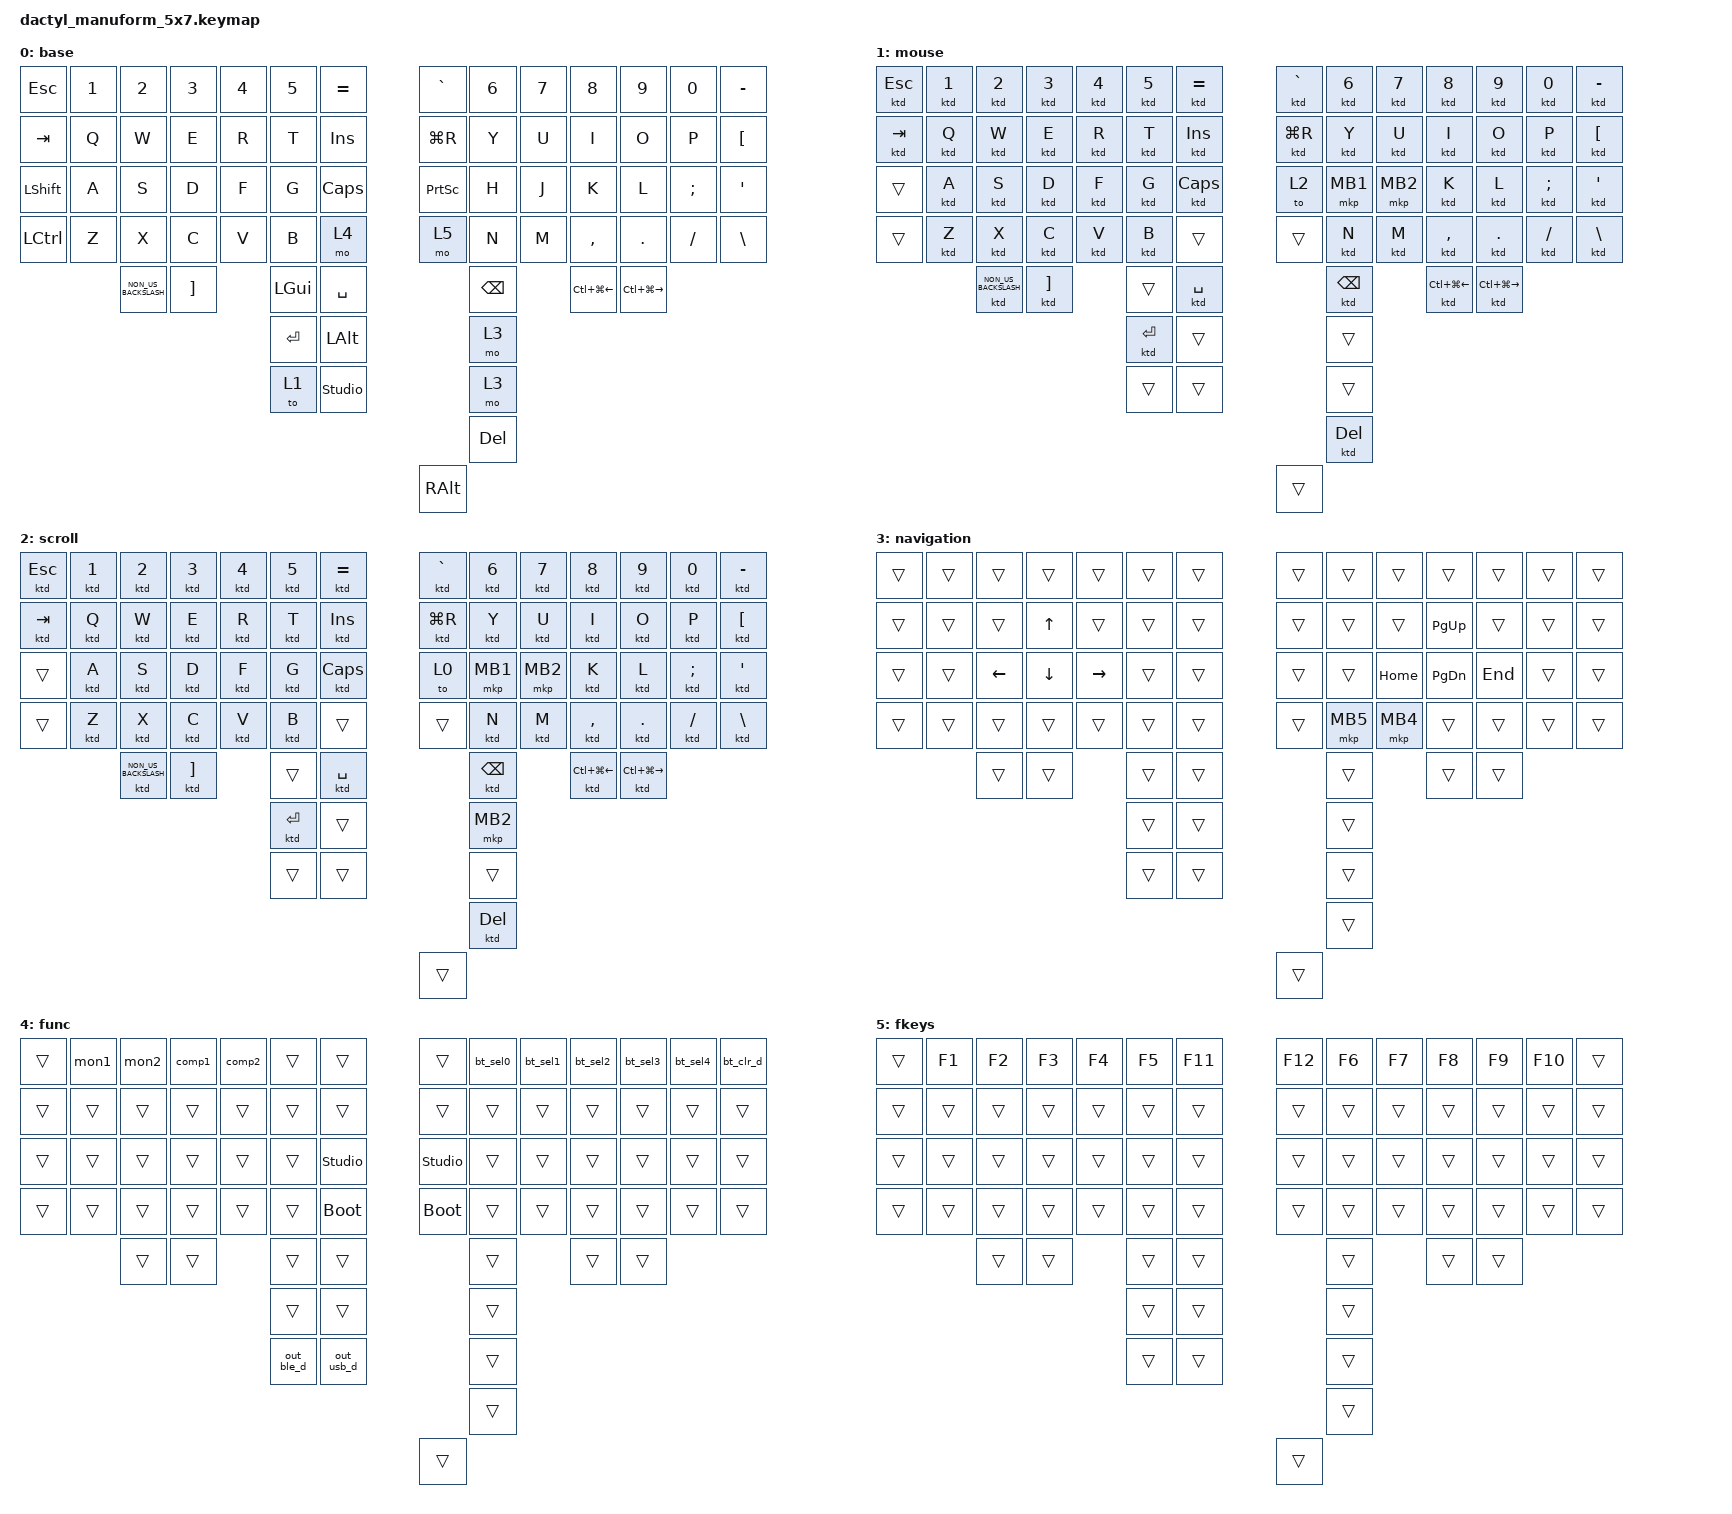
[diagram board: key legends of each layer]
#include <behaviors.dtsi>
#include <dt-bindings/zmk/bt.h>
#include <input/processors.dtsi>
#include <dt-bindings/zmk/keys.h>
#include <dt-bindings/zmk/mouse.h>
#include <dt-bindings/zmk/outputs.h>
#include <dt-bindings/zmk/pointing.h>
#include <dt-bindings/zmk/behaviors.h>
#include <dt-bindings/zmk/input_transform.h>
#include <dt-bindings/zmk/ext_power.h>

// keep all behavior settings for zmk studio
#define ZMK_BEHAVIORS_OMIT_KT

#define DEFAULT 0

#include "common_macros.dtsi"

&sl {
    release-after-ms = <2000>;
};

/ {
    keymap {
        compatible = "zmk,keymap";

        default_layer {
            display-name = "base";
            bindings = <
              &kp ESC                &kp NUMBER_1           &kp NUMBER_2           &kp NUMBER_3           &kp NUMBER_4           &kp NUMBER_5           &kp EQUAL                  &kp GRAVE              &kp NUMBER_6           &kp NUMBER_7           &kp NUMBER_8           &kp NUMBER_9           &kp NUMBER_0           &kp MINUS
              &kp TAB                &kp Q                  &kp W                  &kp E                  &kp R                  &kp T                  &kp INSERT                 &kp LG(R)              &kp Y                  &kp U                  &kp I                  &kp O                  &kp P                  &kp LBKT
              &kp LSHIFT             &kp A                  &kp S                  &kp D                  &kp F                  &kp G                  &kp CAPS                   &kp PSCRN              &kp H                  &kp J                  &kp K                  &kp L                  &kp SEMICOLON          &kp SINGLE_QUOTE
              &kp LCTRL              &kp Z                  &kp X                  &kp C                  &kp V                  &kp B                  &mo 4                      &mo 5                  &kp N                  &kp M                  &kp COMMA              &kp PERIOD             &kp SLASH              &kp BACKSLASH
              &kp NON_US_BACKSLASH   &kp RBKT               &kp LGUI               &kp SPACE              &kp LALT               &kp RALT               &kp DEL                &mo 3                      &kp LC(LG(LEFT))       &kp LC(LG(RIGHT))      &mo 3                  &kp BACKSPACE          &kp ENTER              &to 1                  &studio_unlock
            
            >;
        };

        mouse_layer {
            display-name = "mouse";
            bindings = <
              &ktd ESC               &ktd NUMBER_1          &ktd NUMBER_2          &ktd NUMBER_3          &ktd NUMBER_4          &ktd NUMBER_5          &ktd EQUAL                 &ktd GRAVE             &ktd NUMBER_6          &ktd NUMBER_7          &ktd NUMBER_8          &ktd NUMBER_9          &ktd NUMBER_0          &ktd MINUS
              &ktd TAB               &ktd Q                 &ktd W                 &ktd E                 &ktd R                 &ktd T                 &ktd INSERT                &ktd LG(R)             &ktd Y                 &ktd U                 &ktd I                 &ktd O                 &ktd P                 &ktd LBKT
              &trans                 &ktd A                 &ktd S                 &ktd D                 &ktd F                 &ktd G                 &ktd CAPS                  &to 2                  &mkp MB1               &mkp MB2               &ktd K                 &ktd L                 &ktd SEMICOLON         &ktd SINGLE_QUOTE
              &trans                 &ktd Z                 &ktd X                 &ktd C                 &ktd V                 &ktd B                 &trans                     &trans                 &ktd N                 &ktd M                 &ktd COMMA             &ktd PERIOD            &ktd SLASH             &ktd BACKSLASH
              &ktd NON_US_BACKSLASH  &ktd RBKT              &trans                 &ktd SPACE             &trans                 &trans                 &ktd DEL               &trans                     &ktd LC(LG(LEFT))      &ktd LC(LG(RIGHT))     &trans                 &ktd BACKSPACE         &ktd ENTER             &trans                 &trans
            
            >;
        };

        scroll_layer {
            display-name = "scroll";
            bindings = <
              &ktd ESC               &ktd NUMBER_1          &ktd NUMBER_2          &ktd NUMBER_3          &ktd NUMBER_4          &ktd NUMBER_5          &ktd EQUAL                 &ktd GRAVE             &ktd NUMBER_6          &ktd NUMBER_7          &ktd NUMBER_8          &ktd NUMBER_9          &ktd NUMBER_0          &ktd MINUS
              &ktd TAB               &ktd Q                 &ktd W                 &ktd E                 &ktd R                 &ktd T                 &ktd INSERT                &ktd LG(R)             &ktd Y                 &ktd U                 &ktd I                 &ktd O                 &ktd P                 &ktd LBKT
              &trans                 &ktd A                 &ktd S                 &ktd D                 &ktd F                 &ktd G                 &ktd CAPS                  &to 0                  &mkp MB1               &mkp MB2               &ktd K                 &ktd L                 &ktd SEMICOLON         &ktd SINGLE_QUOTE
              &trans                 &ktd Z                 &ktd X                 &ktd C                 &ktd V                 &ktd B                 &trans                     &trans                 &ktd N                 &ktd M                 &ktd COMMA             &ktd PERIOD            &ktd SLASH             &ktd BACKSLASH
              &ktd NON_US_BACKSLASH  &ktd RBKT              &trans                 &ktd SPACE             &trans                 &trans                 &ktd DEL               &trans                     &ktd LC(LG(LEFT))      &ktd LC(LG(RIGHT))     &mkp MB2               &ktd BACKSPACE         &ktd ENTER             &trans                 &trans
            
            >;
        };
        
        navigation_layer {
            display-name = "navigation";
            bindings = <
              &trans                 &trans                 &trans                 &trans                 &trans                 &trans                 &trans                     &trans                 &trans                 &trans                 &trans                 &trans                 &trans                 &trans
              &trans                 &trans                 &trans                 &kp UP                 &trans                 &trans                 &trans                     &trans                 &trans                 &trans                 &kp PAGE_UP            &trans                 &trans                 &trans
              &trans                 &trans                 &kp LEFT               &kp DOWN               &kp RIGHT              &trans                 &trans                     &trans                 &trans                 &kp HOME               &kp PAGE_DOWN          &kp END                &trans                 &trans
              &trans                 &trans                 &trans                 &trans                 &trans                 &trans                 &trans                     &trans                 &mkp MB5               &mkp MB4               &trans                 &trans                 &trans                 &trans
              &trans                 &trans                 &trans                 &trans                 &trans                 &trans                 &trans                 &trans                     &trans                 &trans                 &trans                 &trans                 &trans                 &trans                 &trans
            
            >;
        };

        function_layer {
            display-name = "func";
            bindings = <
              &trans                 &mon1                  &mon2                  &comp1                 &comp2                 &trans                 &trans                     &trans                 &bt_sel0               &bt_sel1               &bt_sel2               &bt_sel3               &bt_sel4               &bt_clr_d
              &trans                 &trans                 &trans                 &trans                 &trans                 &trans                 &trans                     &trans                 &trans                 &trans                 &trans                 &trans                 &trans                 &trans
              &trans                 &trans                 &trans                 &trans                 &trans                 &trans                 &studio_unlock             &studio_unlock         &trans                 &trans                 &trans                 &trans                 &trans                 &trans
              &trans                 &trans                 &trans                 &trans                 &trans                 &trans                 &bootloader                &bootloader            &trans                 &trans                 &trans                 &trans                 &trans                 &trans
              &trans                 &trans                 &trans                 &trans                 &trans                 &trans                 &trans                 &trans                     &trans                 &trans                 &trans                 &trans                 &trans                 &out_ble_d             &out_usb_d
            >;
        };

        fkeys_layer {
            display-name = "fkeys";
            bindings = <
              &trans                 &kp F1                 &kp F2                 &kp F3                 &kp F4                 &kp F5                 &kp F11                    &kp F12                &kp F6                 &kp F7                 &kp F8                 &kp F9                 &kp F10                &trans
              &trans                 &trans                 &trans                 &trans                 &trans                 &trans                 &trans                     &trans                 &trans                 &trans                 &trans                 &trans                 &trans                 &trans
              &trans                 &trans                 &trans                 &trans                 &trans                 &trans                 &trans                     &trans                 &trans                 &trans                 &trans                 &trans                 &trans                 &trans
              &trans                 &trans                 &trans                 &trans                 &trans                 &trans                 &trans                     &trans                 &trans                 &trans                 &trans                 &trans                 &trans                 &trans
              &trans                 &trans                 &trans                 &trans                 &trans                 &trans                 &trans                 &trans                     &trans                 &trans                 &trans                 &trans                 &trans                 &trans                 &trans
            
            >;
        };

        extra1 {
                status = "reserved";
            };

        extra2 {
                status = "reserved";
            };
    };
};
